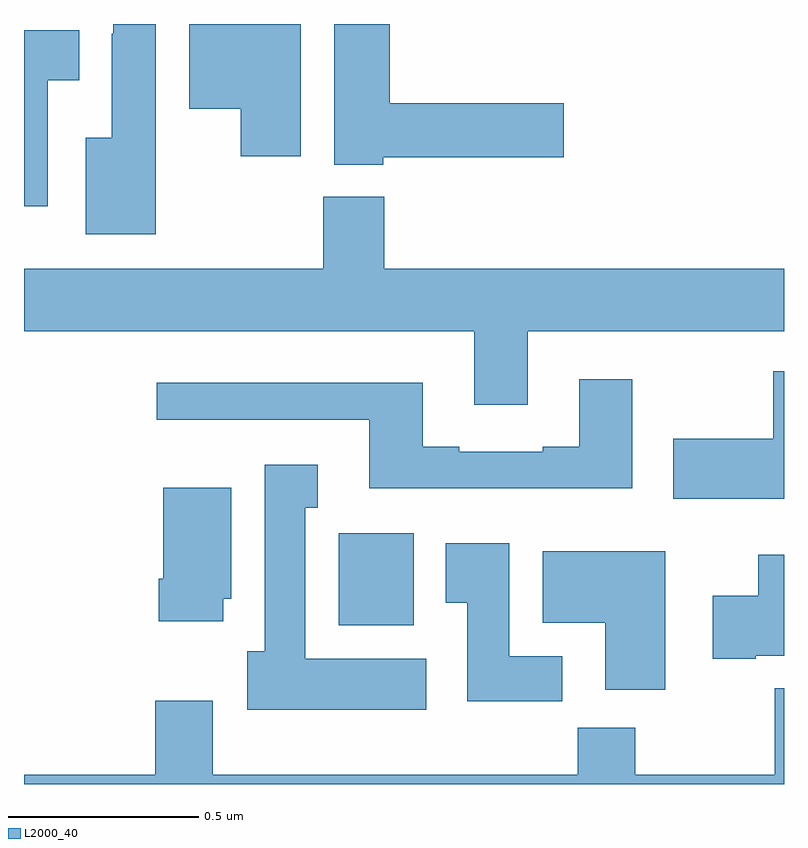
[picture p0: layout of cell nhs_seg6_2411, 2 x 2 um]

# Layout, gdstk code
import gdstk
lib = gdstk.Library(unit=1e-6, precision=1e-09)
def R(c, l, rs):  # rectangles x0, y0, x1, y1
    for r in rs: c.add(gdstk.rectangle(r[:2], r[2:], *l))
def P(c, l, *ps):  # polygons
    for p in ps: c.add(gdstk.Polygon(p, *l))
L2000_40 = (2000, 40)

nhs_seg6_2411 = lib.new_cell('nhs_seg6_2411')
R(nhs_seg6_2411, L2000_40, [(143.828,923.918,144.025,924.16)])
P(nhs_seg6_2411, L2000_40, [(143.347,925.5),(143.235,925.5),(143.235,925.475),(143.231,925.475),(143.231,925.201),(143.162,925.201),(143.162,924.947),(143.347,924.947)],
  [(143.946,925.15),(144.421,925.15),(144.421,925.292),(143.963,925.292),(143.963,925.5),(143.816,925.5),(143.816,925.13),(143.946,925.13)],
  [(143.728,925.5),(143.435,925.5),(143.435,925.277),(143.57,925.277),(143.57,925.152),(143.728,925.152)],
  [(143.062,925.352),(143.146,925.352),(143.146,925.483),(143,925.483),(143,925.02),(143.062,925.02)],
  [(144.325,924.692),(145,924.692),(145,924.856),(143.948,924.856),(143.948,925.045),(143.788,925.045),(143.788,924.856),(143,924.856),(143,924.692),(144.185,924.692),(144.185,924.498),(144.325,924.498)],
  [(145,924.586),(144.972,924.586),(144.972,924.409),(144.708,924.409),(144.708,924.251),(145,924.251)],
  [(144.601,924.565),(144.461,924.565),(144.461,924.388),(144.365,924.388),(144.365,924.375),(144.145,924.375),(144.145,924.388),(144.049,924.388),(144.049,924.556),(143.349,924.556),(143.349,924.459),(143.909,924.459),(143.909,924.278),(144.601,924.278)],
  [(144.058,923.83),(143.74,923.83),(143.74,924.227),(143.773,924.227),(143.773,924.34),(143.633,924.34),(143.633,923.85),(143.588,923.85),(143.588,923.696),(144.058,923.696)],
  [(143.524,923.988),(143.545,923.988),(143.545,924.28),(143.366,924.28),(143.366,924.04),(143.354,924.04),(143.354,923.928),(143.524,923.928)],
  [(144.416,923.836),(144.277,923.836),(144.277,924.133),(144.11,924.133),(144.11,923.977),(144.167,923.977),(144.167,923.718),(144.416,923.718)],
  [(144.688,924.112),(144.365,924.112),(144.365,923.924),(144.53,923.924),(144.53,923.748),(144.688,923.748)],
  [(144.925,923.837),(145,923.837),(145,924.103),(144.932,924.103),(144.932,923.995),(144.813,923.995),(144.813,923.83),(144.925,923.83)],
  [(145,923.752),(144.976,923.752),(144.976,923.524),(144.609,923.524),(144.609,923.648),(144.457,923.648),(144.457,923.524),(143.497,923.524),(143.497,923.719),(143.345,923.719),(143.345,923.524),(143,923.524),(143,923.5),(145,923.5)])

lib.write_gds('nhs_seg6_2411.gds')
